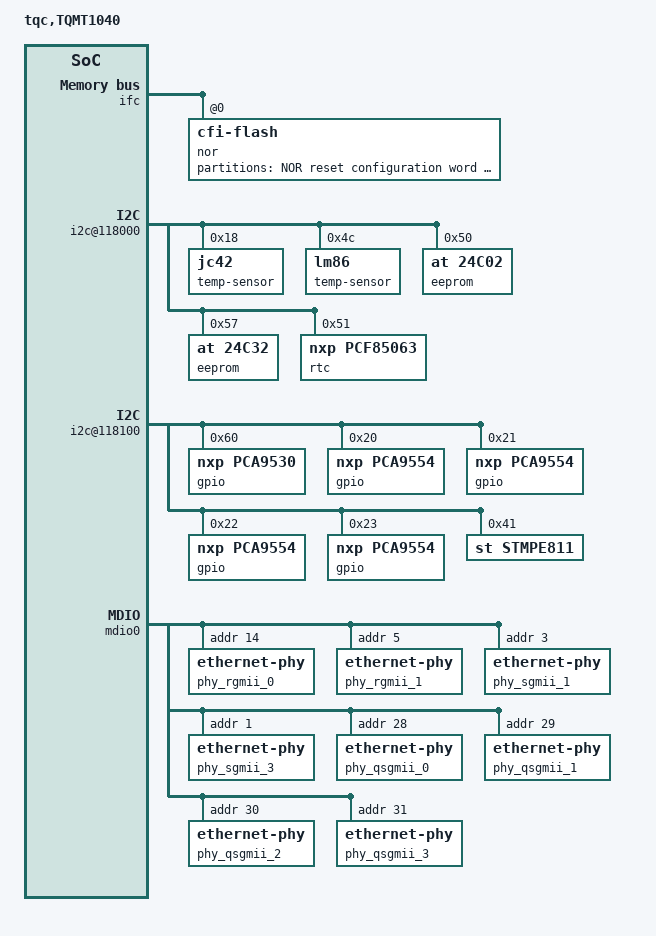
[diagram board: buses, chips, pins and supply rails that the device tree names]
/*
 * TQMT1040 Device Tree Source
 * including starterkit STKTxxxx
 *
 * Copyright 2014 Freescale Semiconductor Inc.
 * Copyright 2016 Stefan Lange <s.lange@gateware.de>
 *
 * Redistribution and use in source and binary forms, with or without
 * modification, are permitted provided that the following conditions are met:
 *     * Redistributions of source code must retain the above copyright
 *	 notice, this list of conditions and the following disclaimer.
 *     * Redistributions in binary form must reproduce the above copyright
 *	 notice, this list of conditions and the following disclaimer in the
 *	 documentation and/or other materials provided with the distribution.
 *     * Neither the name of Freescale Semiconductor nor the
 *	 names of its contributors may be used to endorse or promote products
 *	 derived from this software without specific prior written permission.
 *
 *
 * ALTERNATIVELY, this software may be distributed under the terms of the
 * GNU General Public License ("GPL") as published by the Free Software
 * Foundation, either version 2 of that License or (at your option) any
 * later version.
 *
 * THIS SOFTWARE IS PROVIDED BY Freescale Semiconductor "AS IS" AND ANY
 * EXPRESS OR IMPLIED WARRANTIES, INCLUDING, BUT NOT LIMITED TO, THE IMPLIED
 * WARRANTIES OF MERCHANTABILITY AND FITNESS FOR A PARTICULAR PURPOSE ARE
 * DISCLAIMED. IN NO EVENT SHALL Freescale Semiconductor BE LIABLE FOR ANY
 * DIRECT, INDIRECT, INCIDENTAL, SPECIAL, EXEMPLARY, OR CONSEQUENTIAL DAMAGES
 * (INCLUDING, BUT NOT LIMITED TO, PROCUREMENT OF SUBSTITUTE GOODS OR SERVICES;
 * LOSS OF USE, DATA, OR PROFITS; OR BUSINESS INTERRUPTION) HOWEVER CAUSED AND
 * ON ANY THEORY OF LIABILITY, WHETHER IN CONTRACT, STRICT LIABILITY, OR TORT
 * (INCLUDING NEGLIGENCE OR OTHERWISE) ARISING IN ANY WAY OUT OF THE USE OF THIS
 * SOFTWARE, EVEN IF ADVISED OF THE POSSIBILITY OF SUCH DAMAGE.
 */

/* include CPU */
#include "t104xsi-pre.dtsi"
/* include ethernet phy header to set rgmii timings in device tree */
#include <dt-bindings/net/ti-dp83867.h>

/ {
	model = "tqc,TQMT1040";
	compatible = "tqc,TQMT1040";
	interrupt-parent = <&mpic>;
	#address-cells = <2>;
	#size-cells = <2>;
		
 	aliases {
		phy_rgmii_0 = &phy_rgmii_0;
		phy_rgmii_1 = &phy_rgmii_1;
		phy_sgmii_1 = &phy_sgmii_1;
		phy_sgmii_3 = &phy_sgmii_3;
	};
	
	reserved-memory {
		#address-cells = <2>;
		#size-cells = <2>;
		ranges;

		bman_fbpr: bman-fbpr {
			size = <0 0x1000000>;
			alignment = <0 0x1000000>;
		};
		qman_fqd: qman-fqd {
			size = <0 0x400000>;
			alignment = <0 0x400000>;
		};
		qman_pfdr: qman-pfdr {
			size = <0 0x2000000>;
			alignment = <0 0x2000000>;
		};
	};
	
	ifc: localbus@ffe124000 {
		reg = <0xf 0xfe124000 0 0x2000>;
		ranges = <0 0 0xf 0xe8000000 0x08000000>;

		nor@0,0 {
			#address-cells = <1>;
			#size-cells = <1>;
			compatible = "cfi-flash";
			reg = <0x0 0x0 0x8000000>;
			bank-width = <2>;
			device-width = <1>;
			
			/* reset configuration word */
			partition@0 {
				label = "NOR reset configuration word";
				reg = <0 0x20000>;
			};
			/* 8 MB linux kernel image */
			partition@20000 {
				label = "NOR Linux kernel image";
				reg =<0x20000 0x800000>;
			};
			/* 64 kB flat device tree blob */
			partition@820000 {
				label = "NOR Linux device tree blob";
				reg =<0x820000 0x20000>;
			};
			/* 64 MB root file system image */
			partition@840000 {
				label = "NOR Linux root file system image";
				reg =<0x840000 0x4000000>;
			};
			/* 54 MB spare partition */
			partition@4840000 {
				label = "NOR spare partition";
				reg =<0x4840000 0x3600000>;
			};
			/* 64 kB frame manager microcode + 64 kB quicc engine microcode
			 * common partition because sector boundary > default offset
			 * frame manager microcode @ 0xeff00000, size 0x10000
			 * quicc engine microcode @ 0xeff10000, size 0x10000 */
			partition@0x7f00000 {
				label = "NOR frame manager microcode + quicc engine microcode";
				reg = <0x7f00000 0x20000>;
			};
			/* 64 kB u-boot environment variables */
			partition@0x7f20000 {
				label = "NOR u-boot environment variables";
				reg = <0x7f20000 0x20000>;
			};					
			/* 768 kB u-boot bootloader image */
			partition@0x7f40000 {
				label = "NOR u-boot bootloader image";
				reg = <0x7f40000 0xc0000>;
			};						
		};
	};

	memory {
		device_type = "memory";
	};
	
	/* debug control and status register */
	dcsr: dcsr@f00000000 {
		ranges = <0x00000000 0xf 0x00000000 0x01072000>;
	};
	
	/* buffer manager (part of the data-path acceleration architecture) */ 
	bportals: bman-portals@ff4000000 {
		ranges = <0x0 0xf 0xf4000000 0x2000000>;
	};
	
	qportals: qman-portals@ff6000000 {
		ranges = <0x0 0xf 0xf6000000 0x2000000>;
	};
	
	soc: soc@ffe000000 {
		ranges = <0x00000000 0xf 0xfe000000 0x1000000>;
		reg = <0xf 0xfe000000 0 0x00001000>;
		
		/* I2C1 */ 
		 i2c@118000 {
			/* SE97B temp sensor */
			temp-sensor@18 {
				compatible = "jc42";
				reg = <0x18>;
			};	 
			/* SA56000 temp sensor */
			temp-sensor@4c {
				compatible = "lm86";
				reg = <0x4c>;
			};
			/* config eeprom */
			eeprom@50 {
				compatible = "at,24c02";
				reg = <0x50>;
				pagesize = <64>;
			};
			/* data eeprom  */
			eeprom@57 {
				compatible = "at,24c32";
				reg = <0x57>;
				pagesize = <64>;
			};
			/* RTC PCF85063A */
			rtc@51 {
				compatible = "nxp,pcf85063";
				reg = <0x51>;
			};
		};
		
		/* all of the following components are on the STK */
		/* I2C2 */
		i2c@118100 {
			/* PCA9530 PWM */
			gpio@60 {
				compatible = "nxp,pca9530";
				reg = <0x60>;
			};		
			/* PCA9554 GPIO: DIP Switches */
			gpio@20 {
				compatible = "nxp,pca9554";
				reg = <0x20>;
			};				
			/* PCA9554 GPIO: PCIe & LCD control */
			gpio@21 {
				compatible = "nxp,pca9554";
				reg = <0x21>;
			};	
			/* PCA9554 GPIO: SerDes & DIU Mux, LEDs*/
			gpio@22 {
				compatible = "nxp,pca9554";
				reg = <0x22>;
			};	
			/* PCA9554 GPIO: XFI control, SGMII INT# */
			gpio@23 {
				compatible = "nxp,pca9554";
				reg = <0x23>;
			};				
			/* STMPE touchscreen controller */
			stmpe811: stmpe811@41 {
				compatible = "st,stmpe811";
				reg = <0x41>;
				wakeup-source;
				st,autosleep-timeout = <1024>;			
				stmpe_touchscreen {
					compatible = "st,stmpe-ts";
					st,sample-time = <4>;
					st,mod-12b = <1>;
					st,ref-sel = <0>;
					st,adc-freq = <1>;
					st,ave-ctrl = <1>;
					st,touch-det-delay = <2>;
					st,settling = <2>;
					st,fraction-z = <7>;
					st,i-drive = <1>;
				};						
			};					
		};
		 
		fman0: fman@400000 {
			sleep = <&rcpm 0x00000008>;
			
			/* MAC1: QSGMII 88E11340S
			 * STKT allows SGMII 88E11340S or QSGMII 88E11340S
			 */
			enet0: ethernet@e0000 {
				fixed-link = <0 1 1000 0 0>;
				phy-connection-type = "sgmii";
			};
			
			/* MAC2: SGMII DP83867 */
			enet1: ethernet@e2000 {
				phy-handle = <&phy_sgmii_1>;
				phy-connection-type = "sgmii";
			};
			
			/* MAC3: SGMII 88E11340S */
			enet2: ethernet@e4000 {
				fixed-link = <1 1 1000 0 0>;
				phy-connection-type = "sgmii";
			};
			
			/* MAC4: RGMII DP83867 or SGMII DP83867
			 * STKT allows RGMII DP83867 or SGMII DP83867
			 * RGMII DP83867 implemented in this device tree
			 */
			enet3: ethernet@e6000 {
				phy-handle = <&phy_rgmii_0>;
				phy-connection-type = "rgmii-id";
				external-phy-connection-type = "rgmii-id";
			};
			
			/* MAC5: RGMII DP83867 */
			enet4: ethernet@e8000 {
				phy-handle = <&phy_rgmii_1>;
				phy-connection-type = "rgmii-id";
				external-phy-connection-type = "rgmii-id";
			};
			
			/* external, dedicated MDIO */
			mdio0: mdio@fc000 {
				phy_rgmii_0: ethernet-phy@0e {
					reg = <0x0e>;
					ti,tx-internal-delay = <DP83867_RGMIIDCTL_2_50_NS>;
					ti,rx-internal-delay = <DP83867_RGMIIDCTL_2_00_NS>;
					ti,fifo-depth = <DP83867_PHYCR_FIFO_DEPTH_4_B_NIB>;
					ti,dp83867-clk-out-sel = <DP83867_IOMUXCFG_CLK_O_SEL_REF_CLK>;
				};
				phy_rgmii_1: ethernet-phy@05 {
					reg = <0x05>;
					ti,tx-internal-delay = <DP83867_RGMIIDCTL_2_50_NS>;
					ti,rx-internal-delay = <DP83867_RGMIIDCTL_2_00_NS>;
					ti,fifo-depth = <DP83867_PHYCR_FIFO_DEPTH_4_B_NIB>;
					ti,dp83867-clk-out-sel = <DP83867_IOMUXCFG_CLK_O_SEL_CHA_RX>;
				};
				phy_sgmii_1: ethernet-phy@03 {
					reg = <0x03>;
                                        ti,tx-internal-delay = <DP83867_RGMIIDCTL_2_50_NS>;
                                        ti,rx-internal-delay = <DP83867_RGMIIDCTL_2_00_NS>;
                                        ti,fifo-depth = <DP83867_PHYCR_FIFO_DEPTH_4_B_NIB>;
                                        ti,dp83867-clk-out-sel = <DP83867_IOMUXCFG_CLK_O_SEL_REF_CLK>;
				};
				phy_sgmii_3: ethernet-phy@01 {
					reg = <0x01>;
                                        ti,tx-internal-delay = <DP83867_RGMIIDCTL_2_50_NS>;
                                        ti,rx-internal-delay = <DP83867_RGMIIDCTL_2_00_NS>;
                                        ti,fifo-depth = <DP83867_PHYCR_FIFO_DEPTH_4_B_NIB>;
                                        ti,dp83867-clk-out-sel = <DP83867_IOMUXCFG_CLK_O_SEL_REF_CLK>;
				};
				phy_qsgmii_0: ethernet-phy@1C {
					reg = <0x1C>;
					interrupts = <0 1 0 0>;
				};
                                phy_qsgmii_1: ethernet-phy@1D {
                                        reg = <0x1D>;
                                        interrupts = <0 1 0 0>;
                                };
                                phy_qsgmii_2: ethernet-phy@1E {
                                        reg = <0x1E>;
                                        interrupts = <0 1 0 0>;
                                };
                                phy_qsgmii_3: ethernet-phy@1F {
                                        reg = <0x1F>;
                                        interrupts = <0 1 0 0>;
                                };
			};
		};

		l2switch@800000 {
			port@100000 {
				phy-connection-type = "qsgmii";
				phy-handle = <&phy_qsgmii_0>;
			};
                        port@110000 {
                                phy-connection-type = "qsgmii";
                                phy-handle = <&phy_qsgmii_1>;
                        };
                        port@120000 {
                                phy-connection-type = "qsgmii";
                                phy-handle = <&phy_qsgmii_2>;
                        };
                        port@130000 {
                                phy-connection-type = "qsgmii";
                                phy-handle = <&phy_qsgmii_3>;
                        };
		};
	};
	
	pci0: pcie@ffe240000 {
		status = "disabled";
	};

	pci1: pcie@ffe250000 {
		reg = <0xf 0xfe250000 0 0x10000>;
		ranges = <0x02000000 0x0 0xe0000000 0xc 0x10000000 0x0 0x10000000
			  0x01000000 0x0 0x00000000 0xf 0xf8010000 0x0 0x00010000>;
		pcie@0 {
			ranges = <0x02000000 0 0xe0000000
				  0x02000000 0 0xe0000000
				  0 0x10000000

				  0x01000000 0 0x00000000
				  0x01000000 0 0x00000000
				  0 0x00010000>;
		};
	};

	pci2: pcie@ffe260000 {
		reg = <0xf 0xfe260000 0 0x10000>;
		ranges = <0x02000000 0 0xe0000000 0xc 0x20000000 0 0x10000000
			  0x01000000 0 0x00000000 0xf 0xf8020000 0 0x00010000>;
		pcie@0 {
			ranges = <0x02000000 0 0xe0000000
				  0x02000000 0 0xe0000000
				  0 0x10000000

				  0x01000000 0 0x00000000
				  0x01000000 0 0x00000000
				  0 0x00010000>;
		};
	};

	pci3: pcie@ffe270000 {
		reg = <0xf 0xfe270000 0 0x10000>;
		ranges = <0x02000000 0 0xe0000000 0xc 0x30000000 0 0x10000000
			  0x01000000 0 0x00000000 0xf 0xf8030000 0 0x00010000>;
		pcie@0 {
			ranges = <0x02000000 0 0xe0000000
				  0x02000000 0 0xe0000000
				  0 0x10000000

				  0x01000000 0 0x00000000
				  0x01000000 0 0x00000000
				  0 0x00010000>;
		};
	};
	        
	/* bp dts definition is borrowed from other USDPAA dts */
	bp6: buffer-pool@6 {
		compatible = "fsl,t1040-bpool", "fsl,bpool";
		fsl,bpid = <6>;
		fsl,bpool-ethernet-cfg = <0 0 0 1728 0 0xfeedabba>;
		fsl,bpool-thresholds = <0x100 0x300 0x0 0x0>;
	};
	
};

#include "t1040si-post.dtsi" 
#include "qoriq-dpaa-res3.dtsi"
